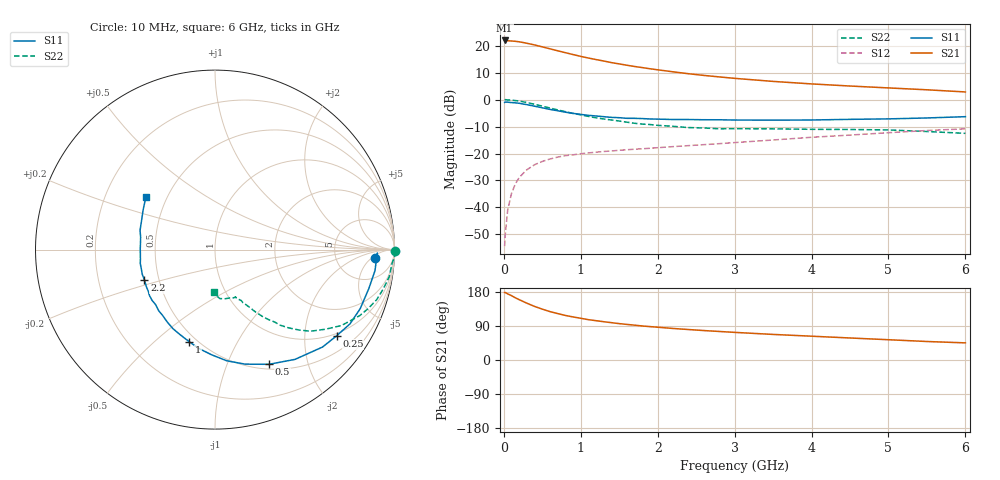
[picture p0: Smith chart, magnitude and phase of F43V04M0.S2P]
!  INFINEON TECHNOLOGIES Small Signal Semiconductors
! BFR360F , Si-NPN RF-Transistor T571A in TSFP3
!  Vce=3 V,  Ic=4 mA
! Common Emitter S-Parameters:  29. May 2001
#  GHz  S  MA  R  50
! f  S11  S21  S12  S22
! GHz  Mag  Ang  Mag  Ang  Mag  Ang  Mag  Ang
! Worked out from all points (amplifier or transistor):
!   36 points, 10 MHz to 6 GHz, reference 50 ohm
!   highest |S21| = 22.0 dB at 10 MHz (marker M1)
!   |S21| within 3 dB of that: start of sweep to 585.3 MHz
!   unconditionally stable (mu >= 1): 2.705 GHz to end of sweep
!   at 250 MHz: K = 0.14, MSG = 24.3 dB, |S12| = -27.4 dB
!   at 1.4 GHz: K = 0.69, MSG = 16.4 dB, |S12| = -19.1 dB
!   at 6 GHz: K = 1.04, MAG = 5.6 dB, |S12| = -10.8 dB
!   S11 on the Smith chart (normalised r, x): 10 MHz: 14, -6; 250 MHz: 0.93, -2.87; 500 MHz: 0.56, -1.42; 1 GHz: 0.46, -0.65; 2.2 GHz: 0.41, -0.17; 6 GHz: 0.38, +0.29
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0.01  0.89 -3.0  12.6 178.1  0.0019 89.4  1.005 -0.6
0.02  0.9049 -1.2  12.48 178.0  0.0033 94.3  1.003 -1.9
0.05  0.899 -7.5  12.45 174.5  0.0089 90.1  0.9895 -4.5
0.1  0.8842 -14.2  12.31 169.7  0.0182 84.2  0.9821 -8.9
0.15  0.8733 -22.2  12.15 164.1  0.0273 77.4  0.9626 -13.2
0.25  0.8306 -35.3  11.54 154.5  0.0425 71.4  0.9142 -21.1
0.3  0.8084 -42.2  11.17 149.8  0.05 68.5  0.8857 -24.6
0.4  0.7569 -53.9  10.4 141.4  0.062 63.5  0.8216 -31.0
0.5  0.7063 -64.8  9.573 134.2  0.0713 59.6  0.7585 -35.8
0.6  0.6598 -75.3  8.811 127.7  0.0791 56.2  0.7001 -40.5
0.7  0.6228 -84.0  8.108 122.5  0.0858 53.5  0.647 -43.8
0.8  0.5866 -91.8  7.468 117.6  0.0914 51.9  0.5994 -46.7
1  0.5329 -105.6  6.373 110.1  0.0991 49.8  0.5231 -50.5
1.1  0.5114 -112.7  5.941 106.4  0.1026 49.0  0.4892 -52.7
1.5  0.4627 -132.8  4.623 96.0  0.1149 49.4  0.401 -57.7
1.8  0.4457 -145.1  3.945 89.8  0.1227 50.3  0.3522 -60.6
2.2  0.4284 -156.5  3.293 83.2  0.1343 52.9  0.3199 -62.7
2.8  0.4235 -169.4  2.65 75.3  0.1524 56.5  0.288 -67.1
3.5  0.4163 179.2  2.186 67.5  0.1784 60.8  0.2873 -70.4
4.5  0.4312 165.5  1.794 58.1  0.22 63.5  0.2797 -78.3
5.5  0.4577 151.0  1.527 48.8  0.2675 64.7  0.2562 -88.5
6  0.4835 142.8  1.392 45.2  0.2875 64.8  0.2369 -91.2
